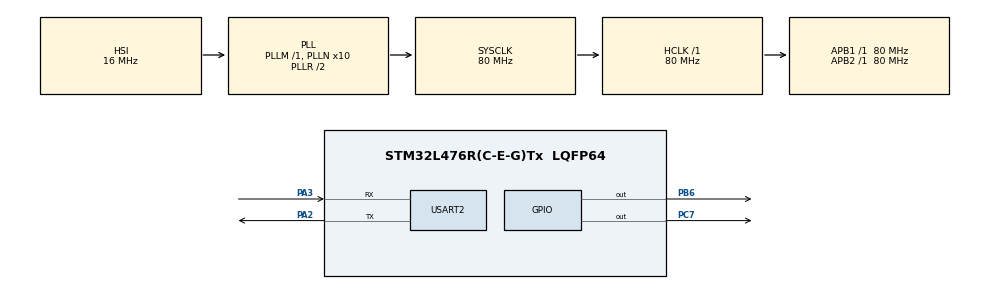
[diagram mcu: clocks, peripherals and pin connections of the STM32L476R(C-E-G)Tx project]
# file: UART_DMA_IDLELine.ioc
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Dma.Request0=USART2_RX
Dma.Request1=USART2_TX
Dma.USART2_RX.0.Direction=DMA_PERIPH_TO_MEMORY
Dma.USART2_RX.0.Instance=DMA1_Channel6
Dma.USART2_RX.0.MemDataAlignment=DMA_MDATAALIGN_BYTE
Dma.USART2_RX.0.MemInc=DMA_MINC_ENABLE
Dma.USART2_RX.0.Mode=DMA_CIRCULAR
Dma.USART2_RX.0.PeriphDataAlignment=DMA_PDATAALIGN_BYTE
Dma.USART2_RX.0.PeriphInc=DMA_PINC_DISABLE
Dma.USART2_RX.0.Priority=DMA_PRIORITY_LOW
Dma.USART2_TX.1.Direction=DMA_MEMORY_TO_PERIPH
Dma.USART2_TX.1.Instance=DMA1_Channel7
Dma.USART2_TX.1.MemDataAlignment=DMA_MDATAALIGN_BYTE
Dma.USART2_TX.1.MemInc=DMA_MINC_ENABLE
Dma.USART2_TX.1.Mode=DMA_NORMAL
Dma.USART2_TX.1.PeriphDataAlignment=DMA_PDATAALIGN_BYTE
Dma.USART2_TX.1.PeriphInc=DMA_PINC_DISABLE
Dma.USART2_TX.1.Priority=DMA_PRIORITY_LOW
Mcu.Family=STM32L4
Mcu.Name=STM32L476R(C-E-G)Tx
Mcu.Package=LQFP64
NVIC.DMA1_Channel6_IRQn=true\:0\:0\:false\:false\:true\:false\:true\:true
NVIC.DMA1_Channel7_IRQn=true\:0\:0\:false\:false\:true\:false\:true\:true
NVIC.PriorityGroup=NVIC_PRIORITYGROUP_4
NVIC.USART2_IRQn=true\:0\:0\:false\:false\:true\:true\:true\:true
PA2.Mode=Asynchronous
PA2.Signal=USART2_TX
PA3.Mode=Asynchronous
PA3.Signal=USART2_RX
PB6.Signal=GPIO_Output
PC7.Signal=GPIO_Output
ProjectManager.HeapSize=0x200
ProjectManager.StackSize=0x400
ProjectManager.TargetToolchain=STM32CubeIDE
RCC.ADCFreq_Value=64000000
RCC.AHBFreq_Value=80000000
RCC.APB1Freq_Value=80000000
RCC.APB1TimFreq_Value=80000000
RCC.APB2Freq_Value=80000000
RCC.APB2TimFreq_Value=80000000
RCC.CortexFreq_Value=80000000
RCC.HCLKFreq_Value=80000000
RCC.HSE_VALUE=8000000
RCC.HSI_VALUE=16000000
RCC.MSI_VALUE=4000000
RCC.PLLN=10
RCC.PLLSourceVirtual=RCC_PLLSOURCE_HSI
RCC.PREFETCH_ENABLE=1
RCC.SYSCLKFreq_VALUE=80000000
RCC.SYSCLKSource=RCC_SYSCLKSOURCE_PLLCLK
RCC.USBFreq_Value=64000000
RCC.VCOOutputFreq_Value=160000000
USART2.VirtualMode-Asynchronous=VM_ASYNC
board=NUCLEO-L476RG

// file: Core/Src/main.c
/* USER CODE BEGIN Header */
/**
  ******************************************************************************
  * @file           : main.c
  * @brief          : Main program body
  ******************************************************************************
  * @attention
  *
  * Copyright (c) 2026 STMicroelectronics.
  * All rights reserved.
  *
  * This software is licensed under terms that can be found in the LICENSE file
  * in the root directory of this software component.
  * If no LICENSE file comes with this software, it is provided AS-IS.
  *
  ******************************************************************************
  */
/* USER CODE END Header */
#include "main.h"
#include <stdbool.h>

#include <string.h>

UART_HandleTypeDef huart2;
DMA_HandleTypeDef hdma_usart2_rx;
DMA_HandleTypeDef hdma_usart2_tx;

/* USER CODE BEGIN PV */

#define 	RX_LEN 	10
uint8_t rx_buffer[RX_LEN];
volatile uint16_t  rx_len = 0;

volatile bool rx_done = false;

/* USER CODE END PV */

void SystemClock_Config(void);
static void MX_GPIO_Init(void);
static void MX_DMA_Init(void);
static void MX_USART2_UART_Init(void);

int main(void)
{

  /* MCU Configuration--------------------------------------------------------*/

  /* Reset of all peripherals, Initializes the Flash interface and the Systick. */
  HAL_Init();

  /* Configure the system clock */
  SystemClock_Config();

  /* Initialize all configured peripherals */
  MX_GPIO_Init();
  MX_DMA_Init();
  MX_USART2_UART_Init();
  /* USER CODE BEGIN 2 */

  HAL_UARTEx_ReceiveToIdle_DMA(&huart2, rx_buffer, RX_LEN);

//  This step disables the Half Transfer Interrupt which is normally enabled by default
  __HAL_DMA_DISABLE_IT(huart2.hdmarx, DMA_IT_HT);

  /* USER CODE END 2 */

  /* Infinite loop */
  while (1)
  {

    /* USER CODE BEGIN 3 */

	  if(rx_done){
		  rx_done = false;

		  HAL_UART_Transmit_DMA(&huart2, rx_buffer, rx_len);

//		  memset(rx_buffer, 0, RX_LEN);
//		  rx_len = 0;

		  HAL_UARTEx_ReceiveToIdle_DMA(&huart2, rx_buffer, RX_LEN);

		  __HAL_DMA_DISABLE_IT(huart2.hdmarx, DMA_IT_HT);

/*		  Even if DMA is configured as circular in CubeMX, HAL_UARTEx_ReceiveToIdle_DMA
		  deliberately stops the DMA on IDLE, so you must rearm it in software. */
	  }
  }
  /* USER CODE END 3 */
}

void SystemClock_Config(void)
{
  RCC_OscInitTypeDef RCC_OscInitStruct = {0};
  RCC_ClkInitTypeDef RCC_ClkInitStruct = {0};

  /** Configure the main internal regulator output voltage
  */
  if (HAL_PWREx_ControlVoltageScaling(PWR_REGULATOR_VOLTAGE_SCALE1) != HAL_OK)
  {
    Error_Handler();
  }

  /** Initializes the RCC Oscillators according to the specified parameters
  * in the RCC_OscInitTypeDef structure.
  */
  RCC_OscInitStruct.OscillatorType = RCC_OSCILLATORTYPE_HSI;
  RCC_OscInitStruct.HSIState = RCC_HSI_ON;
  RCC_OscInitStruct.HSICalibrationValue = RCC_HSICALIBRATION_DEFAULT;
  RCC_OscInitStruct.PLL.PLLState = RCC_PLL_ON;
  RCC_OscInitStruct.PLL.PLLSource = RCC_PLLSOURCE_HSI;
  RCC_OscInitStruct.PLL.PLLM = 1;
  RCC_OscInitStruct.PLL.PLLN = 10;
  RCC_OscInitStruct.PLL.PLLP = RCC_PLLP_DIV7;
  RCC_OscInitStruct.PLL.PLLQ = RCC_PLLQ_DIV2;
  RCC_OscInitStruct.PLL.PLLR = RCC_PLLR_DIV2;
  if (HAL_RCC_OscConfig(&RCC_OscInitStruct) != HAL_OK)
  {
    Error_Handler();
  }

  /** Initializes the CPU, AHB and APB buses clocks
  */
  RCC_ClkInitStruct.ClockType = RCC_CLOCKTYPE_HCLK|RCC_CLOCKTYPE_SYSCLK
                              |RCC_CLOCKTYPE_PCLK1|RCC_CLOCKTYPE_PCLK2;
  RCC_ClkInitStruct.SYSCLKSource = RCC_SYSCLKSOURCE_PLLCLK;
  RCC_ClkInitStruct.AHBCLKDivider = RCC_SYSCLK_DIV1;
  RCC_ClkInitStruct.APB1CLKDivider = RCC_HCLK_DIV1;
  RCC_ClkInitStruct.APB2CLKDivider = RCC_HCLK_DIV1;

  if (HAL_RCC_ClockConfig(&RCC_ClkInitStruct, FLASH_LATENCY_4) != HAL_OK)
  {
    Error_Handler();
  }
}

static void MX_USART2_UART_Init(void)
{

  huart2.Instance = USART2;
  huart2.Init.BaudRate = 115200;
  huart2.Init.WordLength = UART_WORDLENGTH_8B;
  huart2.Init.StopBits = UART_STOPBITS_1;
  huart2.Init.Parity = UART_PARITY_NONE;
  huart2.Init.Mode = UART_MODE_TX_RX;
  huart2.Init.HwFlowCtl = UART_HWCONTROL_NONE;
  huart2.Init.OverSampling = UART_OVERSAMPLING_16;
  huart2.Init.OneBitSampling = UART_ONE_BIT_SAMPLE_DISABLE;
  huart2.AdvancedInit.AdvFeatureInit = UART_ADVFEATURE_NO_INIT;
  if (HAL_UART_Init(&huart2) != HAL_OK)
  {
    Error_Handler();
  }

}

static void MX_DMA_Init(void)
{

  /* DMA controller clock enable */
  __HAL_RCC_DMA1_CLK_ENABLE();

  /* DMA interrupt init */
  /* DMA1_Channel6_IRQn interrupt configuration */
  HAL_NVIC_SetPriority(DMA1_Channel6_IRQn, 0, 0);
  HAL_NVIC_EnableIRQ(DMA1_Channel6_IRQn);
  /* DMA1_Channel7_IRQn interrupt configuration */
  HAL_NVIC_SetPriority(DMA1_Channel7_IRQn, 0, 0);
  HAL_NVIC_EnableIRQ(DMA1_Channel7_IRQn);

}

static void MX_GPIO_Init(void)
{
  GPIO_InitTypeDef GPIO_InitStruct = {0};

  /* GPIO Ports Clock Enable */
  __HAL_RCC_GPIOA_CLK_ENABLE();
  __HAL_RCC_GPIOC_CLK_ENABLE();
  __HAL_RCC_GPIOB_CLK_ENABLE();

  /*Configure GPIO pin Output Level */
  HAL_GPIO_WritePin(GPIOC, GPIO_PIN_7, GPIO_PIN_RESET);

  /*Configure GPIO pin Output Level */
  HAL_GPIO_WritePin(GPIOB, GPIO_PIN_6, GPIO_PIN_RESET);

  /*Configure GPIO pin : PC7 */
  GPIO_InitStruct.Pin = GPIO_PIN_7;
  GPIO_InitStruct.Mode = GPIO_MODE_OUTPUT_PP;
  GPIO_InitStruct.Pull = GPIO_NOPULL;
  GPIO_InitStruct.Speed = GPIO_SPEED_FREQ_LOW;
  HAL_GPIO_Init(GPIOC, &GPIO_InitStruct);

  /*Configure GPIO pin : PB6 */
  GPIO_InitStruct.Pin = GPIO_PIN_6;
  GPIO_InitStruct.Mode = GPIO_MODE_OUTPUT_PP;
  GPIO_InitStruct.Pull = GPIO_NOPULL;
  GPIO_InitStruct.Speed = GPIO_SPEED_FREQ_LOW;
  HAL_GPIO_Init(GPIOB, &GPIO_InitStruct);

}

/* USER CODE BEGIN 4 */

void HAL_UARTEx_RxEventCallback(UART_HandleTypeDef *huart, uint16_t Size)
{
  /* Prevent unused argument(s) compilation warning */
  UNUSED(huart);
  UNUSED(Size);

  /* NOTE : This function should not be modified, when the callback is needed,
            the HAL_UARTEx_RxEventCallback can be implemented in the user file.
   */

  if(huart->Instance == USART2){

	  if(Size > 0){
		  rx_len = Size;
		  rx_done = true;

	  }

//	  An important point to note is taht only local variables can pick up garbage values when not initialized
//	  The global variables can not pick up garbage values even if they were not initialized - Know this and know peace

  }
}

/* USER CODE END 4 */

void Error_Handler(void)
{
  __disable_irq();
  while (1)
  {
  }
}
